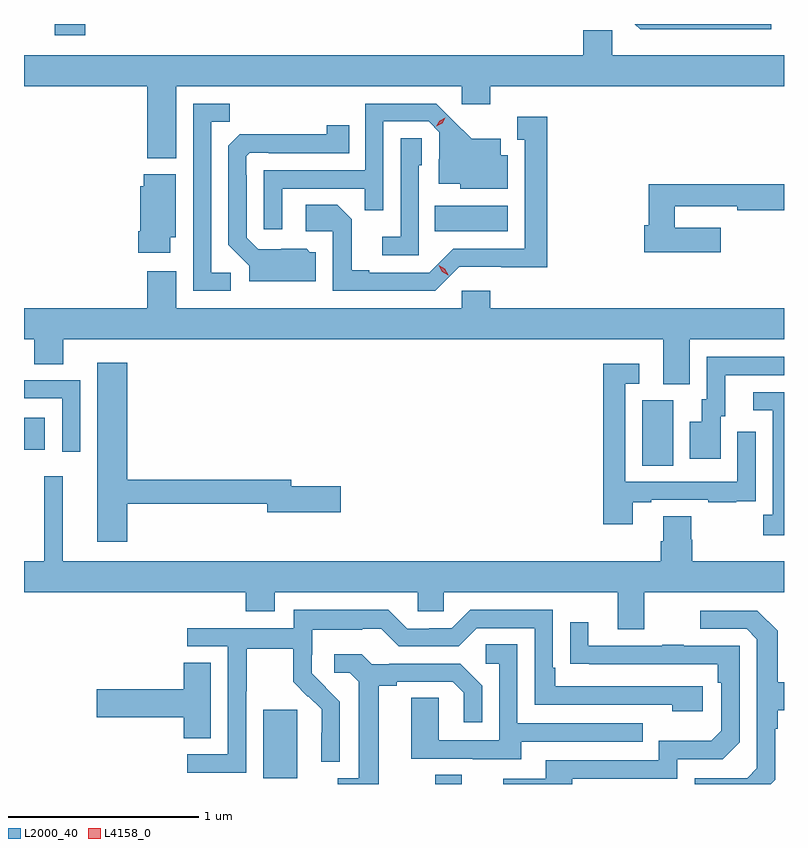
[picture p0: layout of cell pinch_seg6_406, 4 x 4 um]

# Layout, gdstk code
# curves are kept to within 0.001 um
import gdstk
lib = gdstk.Library(unit=1e-6, precision=1e-09)
def R(c, l, rs):  # rectangles x0, y0, x1, y1
    for r in rs: c.add(gdstk.rectangle(r[:2], r[2:], *l))
def P(c, l, *ps):  # polygons
    for p in ps: c.add(gdstk.Polygon(p, *l))
L2000_40 = (2000, 40)
L4158_0 = (4158, 0)

pinch_seg6_406 = lib.new_cell('pinch_seg6_406')
R(pinch_seg6_406, L2000_40, [(648.635,915.692,648.775,915.74), (647.729,915.722,647.908,916.083), (649.724,917.368,649.888,917.712), (646.471,917.45,646.579,917.62), (648.634,918.602,649.018,918.736), (646.634,919.632,646.793,919.692)])
P(pinch_seg6_406, L2000_40, [(650.404,919.692),(649.686,919.692),(649.714,919.664),(650.404,919.664)],
  [(647.272,919.364),(648.774,919.364),(648.774,919.269),(648.926,919.269),(648.926,919.364),(650.471,919.364),(650.471,919.528),(649.566,919.528),(649.566,919.66),(649.415,919.66),(649.415,919.528),(646.471,919.528),(646.471,919.364),(647.12,919.364),(647.12,918.986),(647.272,918.986)],
  [(647.829,918.825),(648.265,918.825),(648.265,918.712),(648.363,918.712),(648.363,919.179),(648.6,919.179),(648.657,919.122),(648.657,918.98),(648.653,918.98),(648.653,918.851),(648.768,918.851),(648.768,918.824),(649.018,918.824),(649.018,919),(648.979,919),(648.979,919.087),(648.827,919.087),(648.64,919.272),(648.267,919.272),(648.267,918.921),(647.733,918.921),(647.733,918.612),(647.829,918.612)],
  [(647.56,918.384),(647.457,918.384),(647.457,919.177),(647.553,919.177),(647.553,919.272),(647.361,919.272),(647.361,918.288),(647.56,918.288)],
  [(648.762,918.414),(649.225,918.413),(649.225,919.204),(649.067,919.204),(649.067,919.083),(649.106,919.083),(649.106,918.51),(648.729,918.51),(648.603,918.384),(648.289,918.384),(648.289,918.397),(648.195,918.397),(648.195,918.664),(648.119,918.74),(647.955,918.74),(647.955,918.6),(648.096,918.6),(648.096,918.288),(648.636,918.288)],
  [(648.007,918.492),(647.976,918.492),(647.96,918.508),(647.703,918.507),(647.643,918.567),(647.643,918.896),(647.64,918.896),(647.64,918.996),(647.658,919.014),(647.758,919.014),(647.758,919.011),(648.182,919.011),(648.182,919.159),(648.064,919.159),(648.064,919.112),(647.606,919.111),(647.547,919.052),(647.547,918.53),(647.657,918.42),(647.657,918.338),(648.007,918.338)],
  [(648.549,918.948),(648.564,918.948),(648.564,919.091),(648.453,919.091),(648.453,918.571),(648.357,918.571),(648.357,918.474),(648.549,918.474)],
  [(647.242,918.57),(647.269,918.57),(647.269,918.901),(647.102,918.901),(647.102,918.837),(647.084,918.837),(647.084,918.601),(647.072,918.601),(647.072,918.489),(647.242,918.489)],
  [(650.137,918.619),(649.895,918.619),(649.895,918.732),(650.224,918.732),(650.224,918.712),(650.471,918.712),(650.471,918.848),(649.759,918.848),(649.759,918.632),(649.736,918.632),(649.736,918.49),(650.137,918.49)],
  [(648.926,918.289),(648.774,918.289),(648.774,918.196),(647.272,918.196),(647.272,918.391),(647.12,918.391),(647.12,918.196),(646.471,918.196),(646.471,918.032),(646.526,918.032),(646.526,917.902),(646.678,917.902),(646.678,918.032),(649.835,918.032),(649.835,917.797),(649.975,917.797),(649.975,918.032),(650.471,918.032),(650.471,918.196),(648.926,918.196)],
  [(650.137,917.628),(650.161,917.628),(650.161,917.844),(650.471,917.844),(650.471,917.94),(650.064,917.94),(650.064,917.718),(650.039,917.718),(650.039,917.599),(649.976,917.599),(649.976,917.403),(650.137,917.403)],
  [(647.015,917.166),(647.75,917.166),(647.75,917.123),(648.139,917.123),(648.139,917.258),(647.878,917.258),(647.878,917.294),(647.015,917.294),(647.015,917.908),(646.856,917.908),(646.856,916.968),(647.015,916.968)],
  [(649.675,917.175),(649.771,917.175),(649.771,917.187),(650.071,917.187),(650.071,917.175),(650.219,917.175),(650.219,917.181),(650.321,917.181),(650.321,917.29),(650.322,917.29),(650.322,917.545),(650.226,917.545),(650.226,917.283),(649.635,917.283),(649.635,917.799),(649.708,917.799),(649.708,917.905),(649.519,917.905),(649.519,917.058),(649.675,917.058)],
  [(646.767,917.817),(646.471,917.817),(646.471,917.721),(646.671,917.721),(646.671,917.442),(646.767,917.442)],
  [(650.471,917.754),(650.31,917.754),(650.31,917.658),(650.412,917.658),(650.412,917.11),(650.361,917.11),(650.361,917),(650.471,917)],
  [(649.735,916.7),(650.471,916.7),(650.471,916.864),(649.988,916.864),(649.988,916.977),(649.983,916.977),(649.983,917.102),(649.835,917.102),(649.835,916.97),(649.823,916.97),(649.823,916.864),(646.676,916.864),(646.676,917.311),(646.577,917.311),(646.577,916.864),(646.471,916.864),(646.471,916.7),(647.639,916.7),(647.639,916.601),(647.791,916.601),(647.791,916.7),(648.543,916.7),(648.543,916.602),(648.681,916.602),(648.681,916.7),(649.595,916.7),(649.595,916.506),(649.735,916.506)],
  [(647.64,916.18),(647.643,916.18),(647.643,916.404),(647.887,916.404),(647.887,916.229),(647.964,916.152),(647.967,916.155),(648.038,916.085),(648.038,915.962),(648.036,915.962),(648.036,915.808),(648.132,915.808),(648.132,916.126),(647.986,916.274),(647.986,916.371),(647.988,916.371),(647.988,916.505),(648.251,916.505),(648.251,916.509),(648.351,916.509),(648.444,916.416),(648.759,916.416),(648.855,916.512),(649.158,916.512),(649.158,916.11),(649.883,916.11),(649.883,916.076),(650.044,916.076),(650.044,916.206),(649.267,916.206),(649.267,916.303),(649.254,916.303),(649.254,916.608),(648.819,916.608),(648.723,916.512),(648.605,916.512),(648.605,916.509),(648.489,916.509),(648.389,916.609),(647.892,916.609),(647.892,916.512),(647.331,916.512),(647.331,916.416),(647.544,916.416),(647.544,915.849),(647.331,915.849),(647.331,915.751),(647.64,915.751)],
  [(650.424,915.714),(650.424,915.983),(650.437,915.983),(650.437,916.079),(650.471,916.079),(650.471,916.227),(650.437,916.227),(650.437,916.499),(650.331,916.605),(650.031,916.605),(650.031,916.509),(650.274,916.509),(650.328,916.455),(650.328,915.774),(650.277,915.723),(650.001,915.723),(650.001,915.692),(650.402,915.692)],
  [(649.357,915.72),(649.908,915.72),(649.908,915.822),(650.148,915.822),(650.238,915.912),(650.238,916.419),(649.943,916.419),(649.943,916.424),(649.831,916.424),(649.831,916.419),(649.441,916.419),(649.441,916.543),(649.345,916.543),(649.345,916.324),(650.122,916.323),(650.122,916.226),(650.142,916.226),(650.142,915.972),(650.089,915.919),(649.812,915.919),(649.812,915.816),(649.217,915.816),(649.217,915.72),(648.993,915.72),(648.993,915.692),(649.357,915.692)],
  [(649.087,915.915),(649.727,915.915),(649.727,916.011),(649.068,916.011),(649.068,916.427),(648.9,916.427),(648.9,916.326),(648.972,916.326),(648.972,915.921),(648.654,915.921),(648.654,916.145),(648.509,916.145),(648.509,915.825),(648.833,915.825),(648.833,915.821),(649.087,915.821)],
  [(648.337,916.208),(648.433,916.208),(648.433,916.23),(648.728,916.23),(648.785,916.173),(648.785,916.017),(648.882,916.017),(648.882,916.21),(648.766,916.326),(648.394,916.326),(648.394,916.323),(648.3,916.323),(648.248,916.375),(648.105,916.375),(648.105,916.278),(648.186,916.278),(648.233,916.231),(648.233,915.723),(648.123,915.723),(648.123,915.692),(648.337,915.692)],
  [(647.455,916.331),(647.312,916.331),(647.312,916.19),(646.854,916.19),(646.854,916.043),(647.312,916.043),(647.312,915.934),(647.455,915.934)])
P(pinch_seg6_406, L4158_0, [(648.703,918.37),(648.672,918.389),(648.655,918.422),(648.655,918.422),(648.655,918.422),(648.686,918.403),(648.704,918.371),(648.704,918.37)],
  [(648.641,919.155),(648.641,919.155),(648.658,919.184),(648.689,919.199),(648.689,919.199),(648.689,919.199),(648.672,919.17),(648.641,919.155)])

lib.write_gds('pinch_seg6_406.gds')
